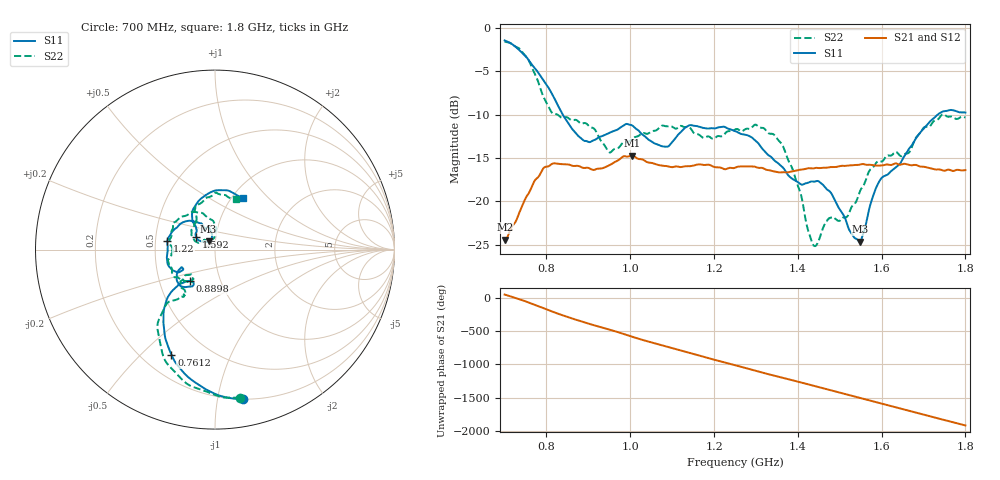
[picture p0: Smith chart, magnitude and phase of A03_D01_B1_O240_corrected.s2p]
! Created with skrf 1.9.0 (http://scikit-rf.org).
# Hz S RI R 50.0
!freq ReS11 ImS11 ReS21 ImS21 ReS12 ImS12 ReS22 ImS22
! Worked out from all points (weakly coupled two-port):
!   1601 points, 700 MHz to 1.8 GHz, reference 50 ohm
!   highest |S21| = -14.71 dB at 1.004 GHz (marker M1); lowest = -24.4 dB at 700.7 MHz (marker M2)
!   lowest |S11| = -24.7 dB at 1.548 GHz (marker M3), VSWR 1.12, Z = 46.3 + j4.29 ohm
!   |S11| at or under -10 dB: 839 MHz to 1.734 GHz (894.5 MHz wide, 69.5 % of centre)
!   |S22| runs from -25.2 to -1.5 dB; largest |S21 - S12| = 0.0039
!   S11 on the Smith chart (normalised r, x): 700 MHz: 0.20, -1.19; 761.2 MHz: 0.32, -0.62; 889.8 MHz: 0.72, -0.26; 1.22 GHz: 0.58, +0.06; 1.592 GHz: 0.80, +0.12; 1.8 GHz: 1.12, +0.72
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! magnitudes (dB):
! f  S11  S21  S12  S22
! 700 MHz  -1.4  -24.4  -24.2  -1.5
! 700.7 MHz  -1.4  -24.4  -24.1  -1.6
! 761.2 MHz  -3.9  -18.7  -18.6  -4.1
! 812.8 MHz  -7.6  -15.7  -15.7  -9.7
! 883.6 MHz  -12.8  -16.1  -16.0  -11.0
! 889.8 MHz  -13.0  -16.1  -16.1  -11.0
! 950.2 MHz  -12.1  -15.8  -15.8  -14.3
! 1.004 GHz  -11.2  -14.7  -14.8  -12.8
! 1.067 GHz  -13.5  -15.8  -15.7  -11.6
! 1.22 GHz  -11.4  -16.2  -16.2  -12.5
! 1.25 GHz  -11.9  -16.1  -16.1  -11.7
! 1.361 GHz  -15.9  -16.6  -16.7  -13.3
! 1.405 GHz  -18.0  -16.4  -16.4  -18.8
! 1.434 GHz  -17.7  -16.2  -16.2  -24.7
! 1.478 GHz  -18.9  -16.0  -16.1  -21.9
! 1.517 GHz  -22.5  -15.9  -15.9  -21.8
! 1.548 GHz  -24.7  -15.7  -15.8  -18.8
! 1.592 GHz  -17.9  -15.9  -15.9  -15.4
! 1.617 GHz  -16.8  -15.8  -15.7  -14.7
! 1.663 GHz  -14.1  -15.8  -15.8  -14.4
! 1.735 GHz  -10.0  -16.3  -16.4  -10.5
! 1.8 GHz  -9.7  -16.4  -16.4  -10.3
